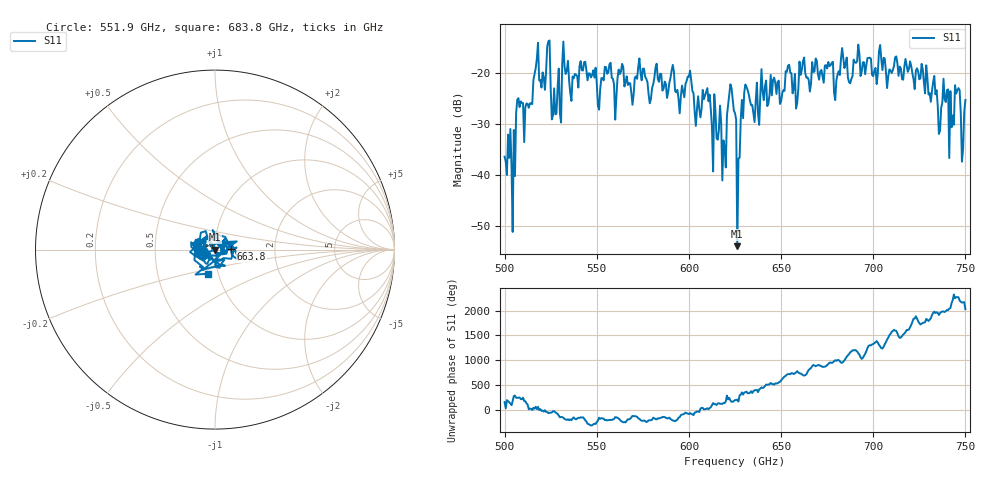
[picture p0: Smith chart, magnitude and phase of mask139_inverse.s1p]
!Created with skrf (http://scikit-rf.org).
# GHz S MA R 50.0
!freq magS11 angS11
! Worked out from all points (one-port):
!   401 points, 500 GHz to 750 GHz, reference 50 ohm
!   lowest |S11| = -54.0 dB at 626.2 GHz (marker M1), VSWR 1.00, Z = 49.8 - j0.109 ohm
!   |S11| at or under -10 dB: start of sweep to end of sweep
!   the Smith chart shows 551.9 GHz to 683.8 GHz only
!   S11 on the Smith chart (normalised r, x): 551.9 GHz: 0.87, -0.02; 663.8 GHz: 1.20, +0.01; 683.8 GHz: 0.89, -0.24
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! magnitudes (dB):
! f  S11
! 500 GHz  -36.4
! 505 GHz  -31.2
! 507.5 GHz  -24.9
! 511.9 GHz  -26.0
! 516.9 GHz  -19.0
! 523.8 GHz  -13.7
! 526.9 GHz  -23.0
! 531.2 GHz  -18.3
! 551.9 GHz  -23.1
! 562.5 GHz  -20.2
! 593.8 GHz  -23.3
! 610 GHz  -23.0
! 618.8 GHz  -33.2
! 622.5 GHz  -22.2
! 625 GHz  -27.8
! 626.2 GHz  -54.0
! 631.2 GHz  -22.7
! 656.2 GHz  -24.0
! 663.8 GHz  -20.9
! 683.8 GHz  -17.0
! 687.5 GHz  -22.0
! 718.8 GHz  -19.7
! 736.2 GHz  -31.3
! 739.4 GHz  -25.7
! 742.5 GHz  -30.7
! 745.6 GHz  -23.4
! 748.1 GHz  -37.4
! 750 GHz  -25.3
